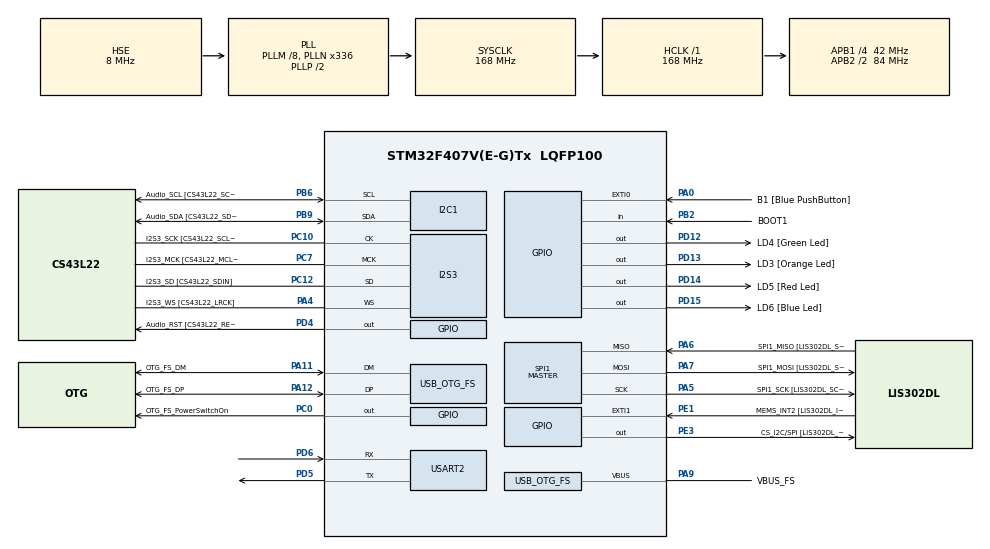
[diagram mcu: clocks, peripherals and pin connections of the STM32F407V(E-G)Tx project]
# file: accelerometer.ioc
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I2S3.AudioFreq-Half_Duplex_Master=I2S_AUDIOFREQ_96K
I2S3.ErrorAudioFreq=-2.34 %
I2S3.ErrorAudioFreq-Half_Duplex_Master=0.8 %
I2S3.FullDuplexMode=I2S_FULLDUPLEXMODE_DISABLE
I2S3.Instance=SPI$Index
I2S3.RealAudioFreq=93.75 KHz
I2S3.RealAudioFreq-Half_Duplex_Master=96.774 KHz
I2S3.VirtualMode=I2S_MODE_MASTER
Mcu.Family=STM32F4
Mcu.Name=STM32F407V(E-G)Tx
Mcu.Package=LQFP100
NVIC.OTG_FS_IRQn=true\:0\:0\:false\:false\:true\:true\:true\:true
NVIC.PriorityGroup=NVIC_PRIORITYGROUP_0
PA0-WKUP.GPIO_Label=B1 [Blue PushButton]
PA0-WKUP.GPIO_ModeDefaultEXTI=GPIO_MODE_EVT_RISING
PA0-WKUP.GPIO_PuPd=GPIO_NOPULL
PA0-WKUP.Signal=GPXTI0
PA10.GPIO_Label=OTG_FS_ID
PA10.GPIO_Mode=GPIO_MODE_AF_PP
PA10.GPIO_PuPd=GPIO_NOPULL
PA10.GPIO_Speed=GPIO_SPEED_FREQ_LOW
PA10.Signal=USB_OTG_FS_ID
PA11.GPIO_Label=OTG_FS_DM
PA11.GPIO_Mode=GPIO_MODE_AF_PP
PA11.GPIO_PuPd=GPIO_NOPULL
PA11.GPIO_Speed=GPIO_SPEED_FREQ_LOW
PA11.Mode=Host_Only
PA11.Signal=USB_OTG_FS_DM
PA12.GPIO_Label=OTG_FS_DP
PA12.GPIO_Mode=GPIO_MODE_AF_PP
PA12.GPIO_PuPd=GPIO_NOPULL
PA12.GPIO_Speed=GPIO_SPEED_FREQ_LOW
PA12.Mode=Host_Only
PA12.Signal=USB_OTG_FS_DP
PA13.GPIO_Label=SWDIO
PA13.Mode=Serial_Wire
PA13.Signal=SYS_JTMS-SWDIO
PA14.GPIO_Label=SWCLK
PA14.Mode=Serial_Wire
PA14.Signal=SYS_JTCK-SWCLK
PA4.GPIO_Label=I2S3_WS [CS43L22_LRCK]
PA4.GPIO_Mode=GPIO_MODE_AF_PP
PA4.GPIO_PuPd=GPIO_NOPULL
PA4.GPIO_Speed=GPIO_SPEED_FREQ_LOW
PA4.Mode=Half_Duplex_Master
PA4.Signal=I2S3_WS
PA5.GPIO_Label=SPI1_SCK [LIS302DL_SCL/SPC]
PA5.GPIO_Mode=GPIO_MODE_AF_PP
PA5.GPIO_PuPd=GPIO_NOPULL
PA5.GPIO_Speed=GPIO_SPEED_FREQ_LOW
PA5.Mode=Full_Duplex_Master
PA5.Signal=SPI1_SCK
PA6.GPIO_Label=SPI1_MISO [LIS302DL_SDO]
PA6.GPIO_Mode=GPIO_MODE_AF_PP
PA6.GPIO_PuPd=GPIO_NOPULL
PA6.GPIO_Speed=GPIO_SPEED_FREQ_LOW
PA6.Mode=Full_Duplex_Master
PA6.Signal=SPI1_MISO
PA7.GPIO_Label=SPI1_MOSI [LIS302DL_SDA/SDI/SDO]
PA7.GPIO_Mode=GPIO_MODE_AF_PP
PA7.GPIO_PuPd=GPIO_NOPULL
PA7.GPIO_Speed=GPIO_SPEED_FREQ_LOW
PA7.Mode=Full_Duplex_Master
PA7.Signal=SPI1_MOSI
PA9.GPIO_Label=VBUS_FS
PA9.GPIO_Mode=GPIO_MODE_INPUT
PA9.GPIO_PuPd=GPIO_NOPULL
PA9.Mode=Activate_VBUS
PA9.Signal=USB_OTG_FS_VBUS
PB10.GPIO_Label=CLK_IN [MP45DT02_CLK]
PB10.GPIO_Mode=GPIO_MODE_AF_PP
PB10.GPIO_PuPd=GPIO_NOPULL
PB10.GPIO_Speed=GPIO_SPEED_FREQ_LOW
PB10.Signal=I2S2_CK
PB2.GPIO_Label=BOOT1
PB2.GPIO_Mode=GPIO_MODE_INPUT
PB2.GPIO_PuPd=GPIO_NOPULL
PB2.Signal=GPIO_Input
PB3.Signal=SYS_JTDO-SWO
PB6.GPIO_Label=Audio_SCL [CS43L22_SCL]
PB6.GPIO_Mode=GPIO_MODE_AF_OD
PB6.GPIO_Pu=GPIO_PULLUP
PB6.GPIO_PuPd=GPIO_NOPULL
PB6.GPIO_Speed=GPIO_SPEED_FREQ_LOW
PB6.Mode=I2C
PB6.Signal=I2C1_SCL
PB9.GPIO_Label=Audio_SDA [CS43L22_SDA]
PB9.GPIO_Mode=GPIO_MODE_AF_OD
PB9.GPIO_Pu=GPIO_PULLUP
PB9.GPIO_PuPd=GPIO_NOPULL
PB9.GPIO_Speed=GPIO_SPEED_FREQ_LOW
PB9.Mode=I2C
PB9.Signal=I2C1_SDA
PC0.GPIO_Label=OTG_FS_PowerSwitchOn
PC0.GPIO_PuPd=GPIO_NOPULL
PC0.GPIO_Speed=GPIO_SPEED_FREQ_LOW
PC0.PinState=GPIO_PIN_SET
PC0.Signal=GPIO_Output
PC10.GPIO_Label=I2S3_SCK [CS43L22_SCLK]
PC10.GPIO_Mode=GPIO_MODE_AF_PP
PC10.GPIO_PuPd=GPIO_NOPULL
PC10.GPIO_Speed=GPIO_SPEED_FREQ_LOW
PC10.Mode=Half_Duplex_Master
PC10.Signal=I2S3_CK
PC12.GPIO_Label=I2S3_SD [CS43L22_SDIN]
PC12.GPIO_Mode=GPIO_MODE_AF_PP
PC12.GPIO_PuPd=GPIO_NOPULL
PC12.GPIO_Speed=GPIO_SPEED_FREQ_LOW
PC12.Mode=Half_Duplex_Master
PC12.Signal=I2S3_SD
PC14-OSC32_IN.GPIO_Label=PC14-OSC32_IN
PC14-OSC32_IN.Mode=LSE-External-Oscillator
PC14-OSC32_IN.Signal=RCC_OSC32_IN
PC15-OSC32_OUT.GPIO_Label=PC15-OSC32_OUT
PC15-OSC32_OUT.Mode=LSE-External-Oscillator
PC15-OSC32_OUT.Signal=RCC_OSC32_OUT
PC3.GPIO_Label=PDM_OUT [MP45DT02_DOUT]
PC3.GPIO_Mode=GPIO_MODE_AF_PP
PC3.GPIO_PuPd=GPIO_NOPULL
PC3.GPIO_Speed=GPIO_SPEED_FREQ_LOW
PC3.Signal=I2S2_SD
PC7.GPIO_Label=I2S3_MCK [CS43L22_MCLK]
PC7.GPIO_Mode=GPIO_MODE_AF_PP
PC7.GPIO_PuPd=GPIO_NOPULL
PC7.GPIO_Speed=GPIO_SPEED_FREQ_LOW
PC7.Mode=Master_Clock_Activated
PC7.Signal=I2S3_MCK
PD12.GPIO_Label=LD4 [Green Led]
PD12.GPIO_PuPd=GPIO_NOPULL
PD12.GPIO_Speed=GPIO_SPEED_FREQ_LOW
PD12.Signal=GPIO_Output
PD13.GPIO_Label=LD3 [Orange Led]
PD13.GPIO_PuPd=GPIO_NOPULL
PD13.GPIO_Speed=GPIO_SPEED_FREQ_LOW
PD13.Signal=GPIO_Output
PD14.GPIO_Label=LD5 [Red Led]
PD14.GPIO_PuPd=GPIO_NOPULL
PD14.GPIO_Speed=GPIO_SPEED_FREQ_LOW
PD14.Signal=GPIO_Output
PD15.GPIO_Label=LD6 [Blue Led]
PD15.GPIO_PuPd=GPIO_NOPULL
PD15.GPIO_Speed=GPIO_SPEED_FREQ_LOW
PD15.Signal=GPIO_Output
PD4.GPIO_Label=Audio_RST [CS43L22_RESET]
PD4.GPIO_PuPd=GPIO_NOPULL
PD4.GPIO_Speed=GPIO_SPEED_FREQ_LOW
PD4.Signal=GPIO_Output
PD5.Mode=Asynchronous
PD5.Signal=USART2_TX
PD6.Mode=Asynchronous
PD6.Signal=USART2_RX
PE1.GPIO_Label=MEMS_INT2 [LIS302DL_INT2]
PE1.GPIO_ModeDefaultEXTI=GPIO_MODE_EVT_RISING
PE1.GPIO_PuPd=GPIO_NOPULL
PE1.Signal=GPXTI1
PE3.GPIO_Label=CS_I2C/SPI [LIS302DL_CS_I2C/SPI]
PE3.GPIO_PuPd=GPIO_NOPULL
PE3.GPIO_Speed=GPIO_SPEED_FREQ_LOW
PE3.Signal=GPIO_Output
PH0-OSC_IN.GPIO_Label=PH0-OSC_IN
PH0-OSC_IN.Mode=HSE-External-Oscillator
PH0-OSC_IN.Signal=RCC_OSC_IN
PH1-OSC_OUT.GPIO_Label=PH1-OSC_OUT
PH1-OSC_OUT.Mode=HSE-External-Oscillator
PH1-OSC_OUT.Signal=RCC_OSC_OUT
ProjectManager.HeapSize=0x200
ProjectManager.StackSize=0x400
ProjectManager.TargetToolchain=STM32CubeIDE
RCC.48MHZClocksFreq_Value=48000000
RCC.AHBFreq_Value=168000000
RCC.APB1CLKDivider=RCC_HCLK_DIV4
RCC.APB1Freq_Value=42000000
RCC.APB1TimFreq_Value=84000000
RCC.APB2CLKDivider=RCC_HCLK_DIV2
RCC.APB2Freq_Value=84000000
RCC.APB2TimFreq_Value=168000000
RCC.CortexFreq_Value=168000000
RCC.HCLKFreq_Value=168000000
RCC.HSE_VALUE=8000000
RCC.HSI_VALUE=16000000
RCC.PLLM=8
RCC.PLLN=336
RCC.PLLQ=7
RCC.SYSCLKFreq_VALUE=168000000
RCC.SYSCLKSource=RCC_SYSCLKSOURCE_PLLCLK
RCC.VCOOutputFreq_Value=336000000
SPI1.BaudRatePrescaler-Full_Duplex_Master=SPI_BAUDRATEPRESCALER_2
SPI1.CalculateBaudRate-Full_Duplex_Master=42.0 MBits/s
SPI1.Direction=SPI_DIRECTION_2LINES
SPI1.Mode=SPI_MODE_MASTER
SPI1.Mode-Full_Duplex_Master=SPI_MODE_MASTER
SPI1.VirtualType=VM_MASTER
USART2.VirtualMode=VM_ASYNC
USB_HOST.BSP.number=1
USB_HOST.USBH_HandleTypeDef-CDC_FS=hUsbHostFS
USB_HOST.VirtualModeFS=Cdc
USB_HOST0.BSP.STBoard=false
USB_HOST0.BSP.api=Unknown
USB_HOST0.BSP.instance=PC0
USB_HOST0.BSP.ip=GPIO
USB_HOST0.BSP.mode=Output
USB_HOST0.BSP.name=Drive_VBUS_FS
USB_HOST0.BSP.solution=PC0
USB_OTG_FS.VirtualMode=Host_Only
USB_OTG_FS.phy_itface=HCD_PHY_EMBEDDED
VP_USB_HOST_VS_USB_HOST_CDC_FS.Mode=CDC_FS
board=STM32F407G-DISC1

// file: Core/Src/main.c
/* USER CODE BEGIN Header */
/**
  ******************************************************************************
  * @file           : main.c
  * @brief          : Main program body
  ******************************************************************************
  * @attention
  *
  * Copyright (c) 2024 STMicroelectronics.
  * All rights reserved.
  *
  * This software is licensed under terms that can be found in the LICENSE file
  * in the root directory of this software component.
  * If no LICENSE file comes with this software, it is provided AS-IS.
  *
  ******************************************************************************
  */
/* USER CODE END Header */
#include "main.h"
#include "usb_host.h"

/* USER CODE BEGIN Includes */
#include "defines.h"
#include "tm_stm32_disco.h"
#include "tm_stm32_delay.h"
#include "tm_stm32_lis302dl_lis3dsh.h"
#include <stdio.h>
#include "stm32f4xx_hal.h"
/* USER CODE END Includes */

/* USER CODE BEGIN PD */
#define ACC_BUFFER_SIZE 400
/* USER CODE END PD */

I2C_HandleTypeDef hi2c1;

I2S_HandleTypeDef hi2s3;

SPI_HandleTypeDef hspi1;

UART_HandleTypeDef huart2;

/* USER CODE BEGIN PV */
uint8_t txdata[6] = {0};
uint8_t hello[] = {1, 2, 3, 4, 5, 6};
/* USER CODE END PV */

void SystemClock_Config(void);
static void MX_GPIO_Init(void);
static void MX_I2C1_Init(void);
static void MX_I2S3_Init(void);
static void MX_SPI1_Init(void);
static void MX_USART2_UART_Init(void);
void MX_USB_HOST_Process(void);

int main(void)
{

  /* MCU Configuration--------------------------------------------------------*/

  /* Reset of all peripherals, Initializes the Flash interface and the Systick. */
  HAL_Init();

  /* Configure the system clock */
  SystemClock_Config();

  /* Initialize all configured peripherals */
  MX_GPIO_Init();
  MX_I2C1_Init();
  MX_I2S3_Init();
  MX_SPI1_Init();
  MX_USB_HOST_Init();
  MX_USART2_UART_Init();
  /* USER CODE BEGIN 2 */
  TM_LIS302DL_LIS3DSH_t Axes_Data;

      /* Initialize system */
      SystemInit();

      /* Init delay */
      TM_DELAY_Init();

      /* Initialize LEDs */
      TM_DISCO_LedInit();

      /* Detect proper device */
      if (TM_LIS302DL_LIS3DSH_Detect() == TM_LIS302DL_LIS3DSH_Device_LIS302DL) {
          /* Turn on GREEN and RED */
          TM_DISCO_LedOn(LED_GREEN | LED_RED);
          /* Initialize LIS302DL */
          TM_LIS302DL_LIS3DSH_Init(TM_LIS302DL_Sensitivity_2_3G, TM_LIS302DL_Filter_2Hz);
      } else if (TM_LIS302DL_LIS3DSH_Detect() == TM_LIS302DL_LIS3DSH_Device_LIS3DSH) {
          /* Turn on BLUE and ORANGE */
          TM_DISCO_LedOn(LED_BLUE | LED_ORANGE);
          /* Initialize LIS3DSH */
          TM_LIS302DL_LIS3DSH_Init(TM_LIS3DSH_Sensitivity_2G, TM_LIS3DSH_Filter_800Hz);
      } else {
          /* Device is not recognized */

          /* Turn on ALL leds */
          TM_DISCO_LedOn(LED_GREEN | LED_RED | LED_BLUE | LED_ORANGE);

          /* Infinite loop */
          while (1);
      }

      /* Delay for 2 seconds */
      Delayms(2000);
  /* USER CODE END 2 */

  /* Infinite loop */
  while (1)
  {
    MX_USB_HOST_Process();

    /* USER CODE BEGIN 3 */
    /* Read axes data from initialized accelerometer */
            TM_LIS302DL_LIS3DSH_ReadAxes(&Axes_Data);
            txdata[1] = Axes_Data.X;
            txdata[0] = Axes_Data.X >> 8;
            txdata[3] = Axes_Data.Y;
            txdata[2] = Axes_Data.Y >> 8;
            txdata[5] = Axes_Data.Z;
            txdata[4] = Axes_Data.Z >> 8;

            HAL_UART_Transmit(&huart2, txdata, sizeof(txdata), 100);

            /* Turn LEDS on or off */
            /* Check X axes */
            if (Axes_Data.X > 200) TM_DISCO_LedOn(LED_RED);
            else TM_DISCO_LedOff(LED_RED);

            if (Axes_Data.X < -200) TM_DISCO_LedOn(LED_GREEN);
            else TM_DISCO_LedOff(LED_GREEN);

            /* Check Y axes */
            if (Axes_Data.Y > 200) TM_DISCO_LedOn(LED_ORANGE);
            else TM_DISCO_LedOff(LED_ORANGE);

            if (Axes_Data.Y < -200) TM_DISCO_LedOn(LED_BLUE);
            else TM_DISCO_LedOff(LED_BLUE);
            HAL_Delay(200);
  }
  /* USER CODE END 3 */
}

void SystemClock_Config(void)
{
  RCC_OscInitTypeDef RCC_OscInitStruct = {0};
  RCC_ClkInitTypeDef RCC_ClkInitStruct = {0};

  /** Configure the main internal regulator output voltage
  */
  __HAL_RCC_PWR_CLK_ENABLE();
  __HAL_PWR_VOLTAGESCALING_CONFIG(PWR_REGULATOR_VOLTAGE_SCALE1);

  /** Initializes the RCC Oscillators according to the specified parameters
  * in the RCC_OscInitTypeDef structure.
  */
  RCC_OscInitStruct.OscillatorType = RCC_OSCILLATORTYPE_HSE;
  RCC_OscInitStruct.HSEState = RCC_HSE_ON;
  RCC_OscInitStruct.PLL.PLLState = RCC_PLL_ON;
  RCC_OscInitStruct.PLL.PLLSource = RCC_PLLSOURCE_HSE;
  RCC_OscInitStruct.PLL.PLLM = 8;
  RCC_OscInitStruct.PLL.PLLN = 336;
  RCC_OscInitStruct.PLL.PLLP = RCC_PLLP_DIV2;
  RCC_OscInitStruct.PLL.PLLQ = 7;
  if (HAL_RCC_OscConfig(&RCC_OscInitStruct) != HAL_OK)
  {
    Error_Handler();
  }

  /** Initializes the CPU, AHB and APB buses clocks
  */
  RCC_ClkInitStruct.ClockType = RCC_CLOCKTYPE_HCLK|RCC_CLOCKTYPE_SYSCLK
                              |RCC_CLOCKTYPE_PCLK1|RCC_CLOCKTYPE_PCLK2;
  RCC_ClkInitStruct.SYSCLKSource = RCC_SYSCLKSOURCE_PLLCLK;
  RCC_ClkInitStruct.AHBCLKDivider = RCC_SYSCLK_DIV1;
  RCC_ClkInitStruct.APB1CLKDivider = RCC_HCLK_DIV4;
  RCC_ClkInitStruct.APB2CLKDivider = RCC_HCLK_DIV2;

  if (HAL_RCC_ClockConfig(&RCC_ClkInitStruct, FLASH_LATENCY_5) != HAL_OK)
  {
    Error_Handler();
  }
}

static void MX_I2C1_Init(void)
{

  hi2c1.Instance = I2C1;
  hi2c1.Init.ClockSpeed = 100000;
  hi2c1.Init.DutyCycle = I2C_DUTYCYCLE_2;
  hi2c1.Init.OwnAddress1 = 0;
  hi2c1.Init.AddressingMode = I2C_ADDRESSINGMODE_7BIT;
  hi2c1.Init.DualAddressMode = I2C_DUALADDRESS_DISABLE;
  hi2c1.Init.OwnAddress2 = 0;
  hi2c1.Init.GeneralCallMode = I2C_GENERALCALL_DISABLE;
  hi2c1.Init.NoStretchMode = I2C_NOSTRETCH_DISABLE;
  if (HAL_I2C_Init(&hi2c1) != HAL_OK)
  {
    Error_Handler();
  }

}

static void MX_I2S3_Init(void)
{

  hi2s3.Instance = SPI3;
  hi2s3.Init.Mode = I2S_MODE_MASTER_TX;
  hi2s3.Init.Standard = I2S_STANDARD_PHILIPS;
  hi2s3.Init.DataFormat = I2S_DATAFORMAT_16B;
  hi2s3.Init.MCLKOutput = I2S_MCLKOUTPUT_ENABLE;
  hi2s3.Init.AudioFreq = I2S_AUDIOFREQ_96K;
  hi2s3.Init.CPOL = I2S_CPOL_LOW;
  hi2s3.Init.ClockSource = I2S_CLOCK_PLL;
  hi2s3.Init.FullDuplexMode = I2S_FULLDUPLEXMODE_DISABLE;
  if (HAL_I2S_Init(&hi2s3) != HAL_OK)
  {
    Error_Handler();
  }

}

static void MX_SPI1_Init(void)
{

  /* SPI1 parameter configuration*/
  hspi1.Instance = SPI1;
  hspi1.Init.Mode = SPI_MODE_MASTER;
  hspi1.Init.Direction = SPI_DIRECTION_2LINES;
  hspi1.Init.DataSize = SPI_DATASIZE_8BIT;
  hspi1.Init.CLKPolarity = SPI_POLARITY_LOW;
  hspi1.Init.CLKPhase = SPI_PHASE_1EDGE;
  hspi1.Init.NSS = SPI_NSS_SOFT;
  hspi1.Init.BaudRatePrescaler = SPI_BAUDRATEPRESCALER_2;
  hspi1.Init.FirstBit = SPI_FIRSTBIT_MSB;
  hspi1.Init.TIMode = SPI_TIMODE_DISABLE;
  hspi1.Init.CRCCalculation = SPI_CRCCALCULATION_DISABLE;
  hspi1.Init.CRCPolynomial = 10;
  if (HAL_SPI_Init(&hspi1) != HAL_OK)
  {
    Error_Handler();
  }

}

static void MX_USART2_UART_Init(void)
{

  huart2.Instance = USART2;
  huart2.Init.BaudRate = 115200;
  huart2.Init.WordLength = UART_WORDLENGTH_8B;
  huart2.Init.StopBits = UART_STOPBITS_1;
  huart2.Init.Parity = UART_PARITY_NONE;
  huart2.Init.Mode = UART_MODE_TX_RX;
  huart2.Init.HwFlowCtl = UART_HWCONTROL_NONE;
  huart2.Init.OverSampling = UART_OVERSAMPLING_16;
  if (HAL_UART_Init(&huart2) != HAL_OK)
  {
    Error_Handler();
  }

}

static void MX_GPIO_Init(void)
{
  GPIO_InitTypeDef GPIO_InitStruct = {0};

  /* GPIO Ports Clock Enable */
  __HAL_RCC_GPIOE_CLK_ENABLE();
  __HAL_RCC_GPIOC_CLK_ENABLE();
  __HAL_RCC_GPIOH_CLK_ENABLE();
  __HAL_RCC_GPIOA_CLK_ENABLE();
  __HAL_RCC_GPIOB_CLK_ENABLE();
  __HAL_RCC_GPIOD_CLK_ENABLE();

  /*Configure GPIO pin Output Level */
  HAL_GPIO_WritePin(CS_I2C_SPI_GPIO_Port, CS_I2C_SPI_Pin, GPIO_PIN_RESET);

  /*Configure GPIO pin Output Level */
  HAL_GPIO_WritePin(OTG_FS_PowerSwitchOn_GPIO_Port, OTG_FS_PowerSwitchOn_Pin, GPIO_PIN_SET);

  /*Configure GPIO pin Output Level */
  HAL_GPIO_WritePin(GPIOD, LD4_Pin|LD3_Pin|LD5_Pin|LD6_Pin
                          |Audio_RST_Pin, GPIO_PIN_RESET);

  /*Configure GPIO pin : CS_I2C_SPI_Pin */
  GPIO_InitStruct.Pin = CS_I2C_SPI_Pin;
  GPIO_InitStruct.Mode = GPIO_MODE_OUTPUT_PP;
  GPIO_InitStruct.Pull = GPIO_NOPULL;
  GPIO_InitStruct.Speed = GPIO_SPEED_FREQ_LOW;
  HAL_GPIO_Init(CS_I2C_SPI_GPIO_Port, &GPIO_InitStruct);

  /*Configure GPIO pin : OTG_FS_PowerSwitchOn_Pin */
  GPIO_InitStruct.Pin = OTG_FS_PowerSwitchOn_Pin;
  GPIO_InitStruct.Mode = GPIO_MODE_OUTPUT_PP;
  GPIO_InitStruct.Pull = GPIO_NOPULL;
  GPIO_InitStruct.Speed = GPIO_SPEED_FREQ_LOW;
  HAL_GPIO_Init(OTG_FS_PowerSwitchOn_GPIO_Port, &GPIO_InitStruct);

  /*Configure GPIO pin : PDM_OUT_Pin */
  GPIO_InitStruct.Pin = PDM_OUT_Pin;
  GPIO_InitStruct.Mode = GPIO_MODE_AF_PP;
  GPIO_InitStruct.Pull = GPIO_NOPULL;
  GPIO_InitStruct.Speed = GPIO_SPEED_FREQ_LOW;
  GPIO_InitStruct.Alternate = GPIO_AF5_SPI2;
  HAL_GPIO_Init(PDM_OUT_GPIO_Port, &GPIO_InitStruct);

  /*Configure GPIO pin : B1_Pin */
  GPIO_InitStruct.Pin = B1_Pin;
  GPIO_InitStruct.Mode = GPIO_MODE_EVT_RISING;
  GPIO_InitStruct.Pull = GPIO_NOPULL;
  HAL_GPIO_Init(B1_GPIO_Port, &GPIO_InitStruct);

  /*Configure GPIO pin : BOOT1_Pin */
  GPIO_InitStruct.Pin = BOOT1_Pin;
  GPIO_InitStruct.Mode = GPIO_MODE_INPUT;
  GPIO_InitStruct.Pull = GPIO_NOPULL;
  HAL_GPIO_Init(BOOT1_GPIO_Port, &GPIO_InitStruct);

  /*Configure GPIO pin : CLK_IN_Pin */
  GPIO_InitStruct.Pin = CLK_IN_Pin;
  GPIO_InitStruct.Mode = GPIO_MODE_AF_PP;
  GPIO_InitStruct.Pull = GPIO_NOPULL;
  GPIO_InitStruct.Speed = GPIO_SPEED_FREQ_LOW;
  GPIO_InitStruct.Alternate = GPIO_AF5_SPI2;
  HAL_GPIO_Init(CLK_IN_GPIO_Port, &GPIO_InitStruct);

  /*Configure GPIO pins : LD4_Pin LD3_Pin LD5_Pin LD6_Pin
                           Audio_RST_Pin */
  GPIO_InitStruct.Pin = LD4_Pin|LD3_Pin|LD5_Pin|LD6_Pin
                          |Audio_RST_Pin;
  GPIO_InitStruct.Mode = GPIO_MODE_OUTPUT_PP;
  GPIO_InitStruct.Pull = GPIO_NOPULL;
  GPIO_InitStruct.Speed = GPIO_SPEED_FREQ_LOW;
  HAL_GPIO_Init(GPIOD, &GPIO_InitStruct);

  /*Configure GPIO pin : MEMS_INT2_Pin */
  GPIO_InitStruct.Pin = MEMS_INT2_Pin;
  GPIO_InitStruct.Mode = GPIO_MODE_EVT_RISING;
  GPIO_InitStruct.Pull = GPIO_NOPULL;
  HAL_GPIO_Init(MEMS_INT2_GPIO_Port, &GPIO_InitStruct);

}

void Error_Handler(void)
{
  __disable_irq();
  while (1)
  {
  }
}
